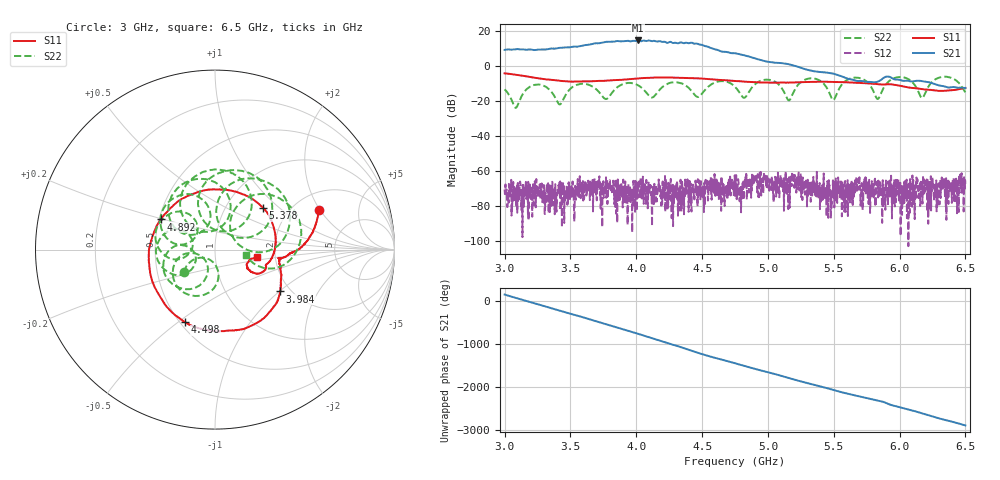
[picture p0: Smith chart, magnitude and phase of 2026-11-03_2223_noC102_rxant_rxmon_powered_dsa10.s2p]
! HEWLETT PACKARD,8720ES,MY41003347,7.72, via bringup/vna_tests.py
! noC102_rxant_rxmon_powered_dsa10
! measured 2026-11-03 22:24:11, 1601 points, 3000000000-6500000000 Hz, IF bandwidth 1000 Hz, source -40.00 dBm, kit CALK35MD
! board A, DSA 10.00 dB (set before each sweep)
! board A, CTRL bits {'tx_dis': 1} set before each sweep
# HZ S RI R 50
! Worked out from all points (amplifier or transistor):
!   1601 points, 3 GHz to 6.5 GHz, reference 50 ohm
!   highest |S21| = 14.6 dB at 4.015 GHz (marker M1)
!   |S21| within 3 dB of that: 3.592 GHz to 4.514 GHz (921.9 MHz wide, 22.7 % of centre)
!   unconditionally stable (mu >= 1): start of sweep to end of sweep
!   at 3.582 GHz: K = 317.91, MAG = 12.5 dB, |S12| = -69.7 dB
!   at 4.75 GHz: K = 898.85, MAG = 8.3 dB, |S12| = -74.3 dB
!   at 6.5 GHz: K = 4535.55, MAG = -12.2 dB, |S12| = -67.3 dB
!   S11 on the Smith chart (normalised r, x): 3 GHz: 2.73, +1.94; 3.984 GHz: 1.77, -1.01; 4.498 GHz: 0.53, -0.53; 4.892 GHz: 0.51, +0.19; 5.378 GHz: 1.48, +0.79; 6.5 GHz: 1.60, -0.13
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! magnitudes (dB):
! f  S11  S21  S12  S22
! 3 GHz  -4.2  9.2  -70.6  -13.4
! 3.085 GHz  -5.0  9.6  -70.7  -23.9
! 3.278 GHz  -7.3  9.5  -72.7  -10.8
! 3.42 GHz  -8.4  10.4  -74.7  -22.0
! 3.584 GHz  -8.8  11.5  -69.0  -10.2
! 3.77 GHz  -8.4  13.8  -63.7  -18.9
! 3.984 GHz  -7.3  14.4  -74.7  -10.1
! 4.015 GHz  -7.1  14.6  -65.5  -11.1
! 4.168 GHz  -6.6  14.2  -72.4  -14.4
! 4.498 GHz  -7.2  12.1  -69.7  -15.9
! 4.75 GHz  -8.6  7.3  -74.3  -11.9
! 4.892 GHz  -9.2  4.6  -67.0  -11.1
! 5.161 GHz  -9.5  1.0  -63.6  -19.6
! 5.334 GHz  -9.1  -2.8  -68.2  -7.0
! 5.378 GHz  -9.0  -3.2  -69.6  -7.7
! 5.496 GHz  -9.1  -4.3  -75.2  -19.5
! 5.629 GHz  -9.4  -7.6  -74.5  -7.1
! 5.833 GHz  -10.4  -9.0  -67.8  -18.9
! 5.918 GHz  -10.4  -6.1  -72.4  -8.7
! 6.172 GHz  -13.2  -8.7  -70.2  -18.4
! 6.36 GHz  -14.0  -12.1  -66.5  -6.2
! 6.5 GHz  -12.5  -12.6  -67.3  -15.1
